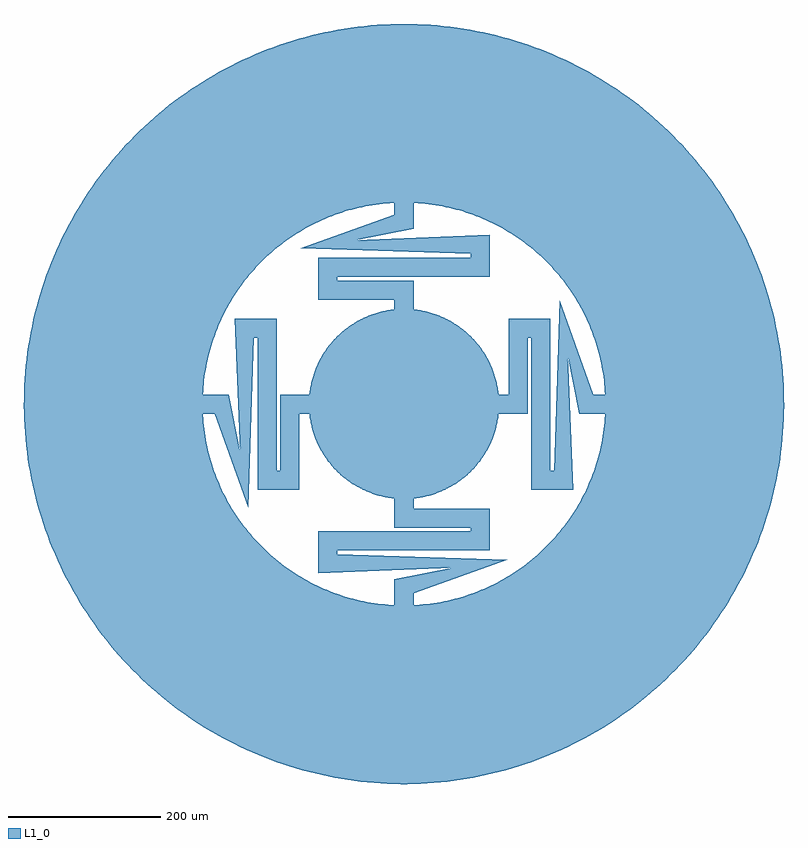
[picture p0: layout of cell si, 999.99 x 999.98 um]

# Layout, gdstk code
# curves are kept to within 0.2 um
import gdstk
lib = gdstk.Library(unit=1e-6, precision=1e-09)
def P(c, l, *ps):  # polygons
    for p in ps: c.add(gdstk.Polygon(p, *l))
L1_0 = (1, 0)

c_si = lib.new_cell('si')
P(c_si, L1_0, [(-1.094,-124.995),(-14.19,-124.192),(-24.989,-122.477),(-37.69,-119.183),(-47.962,-115.433),(-57.867,-110.799),(-69.162,-104.123),(-79.695,-96.3),(-89.35,-87.416),(-98.021,-77.569),(-104.425,-68.706),(-111.051,-57.381),(-116.454,-45.425),(-119.979,-35.073),(-122.994,-22.304),(-124.473,-11.469),(-124.989,1.641),(-124.368,12.558),(-122.366,25.525),(-119.017,38.211),(-115.222,48.466),(-109.507,60.277),(-103.82,69.617),(-95.951,80.115),(-87.024,89.732),(-77.14,98.359),(-68.248,104.724),(-56.895,111.301),(-46.95,115.848),(-36.645,119.508),(-23.917,122.691),(-10.925,124.522),(2.188,124.981),(15.276,124.063),(26.06,122.253),(36.645,119.508),(48.97,115.008),(60.755,109.242),(70.07,103.514),(80.535,95.599),(88.582,88.195),(97.338,78.424),(103.82,69.617),(109.507,60.277),(115.222,48.466),(119.667,36.122),(122.794,23.38),(124.368,12.558),(124.999,-0.547),(124.473,-11.469),(122.585,-24.453),(119.346,-37.168),(114.793,-49.473),(108.975,-61.233),(103.206,-70.523),(96.648,-79.273),(87.806,-88.967),(79.695,-96.3),(69.162,-104.123),(57.867,-110.799),(47.962,-115.433),(37.69,-119.183),(24.989,-122.477),(12.014,-124.421)],
  [(-4.375,-499.981),(-30.609,-499.062),(-56.759,-496.768),(-82.752,-493.105),(-99.958,-489.907),(-125.531,-483.985),(-150.759,-476.73),(-175.57,-468.161),(-199.898,-458.302),(-215.815,-451.025),(-239.188,-439.078),(-261.902,-425.92),(-283.894,-411.588),(-305.103,-396.121),(-325.472,-379.563),(-344.944,-361.959),(-357.4,-349.665),(-375.258,-330.426),(-392.082,-310.277),(-407.826,-289.272),(-417.699,-274.822),(-431.547,-252.522),(-440.12,-237.265),(-451.965,-213.839),(-462.565,-189.825),(-471.89,-165.287),(-479.914,-140.294),(-486.616,-114.914),(-491.976,-89.217),(-494.797,-71.945),(-497.891,-45.878),(-499.612,-19.685),(-499.957,6.563),(-499.421,24.056),(-498.273,41.519),(-496.515,58.932),(-494.148,76.272),(-491.176,93.519),(-487.603,110.651),(-483.432,127.648),(-478.668,144.488),(-473.318,161.151),(-467.389,177.617),(-460.886,193.865),(-453.819,209.876),(-446.196,225.63),(-438.027,241.107),(-423.986,265),(0,265),(-13.908,264.635),(-32.385,263.014),(-46.144,260.952),(-64.284,257.085),(-77.688,253.357),(-95.22,247.302),(-108.068,241.964),(-124.728,233.812),(-140.778,224.514),(-152.367,216.816),(-163.536,208.521),(-177.721,196.571),(-187.793,186.973),(-200.412,173.379),(-209.235,162.622),(-220.098,147.587),(-227.54,135.833),(-236.484,119.584),(-244.27,102.749),(-249.326,89.787),(-253.694,76.579),(-258.429,58.645),(-261.899,40.424),(-263.659,26.624),(-264.876,8.115),(-264.937,-5.797),(-263.882,-24.315),(-262.242,-38.131),(-259.88,-51.841),(-255.617,-69.893),(-251.597,-83.212),(-245.16,-100.607),(-237.522,-117.51),(-231.027,-129.813),(-221.381,-145.656),(-213.431,-157.073),(-204.894,-168.058),(-192.636,-181.979),(-179.435,-195.008),(-168.953,-204.156),(-158.006,-212.742),(-142.737,-223.273),(-130.823,-230.457),(-114.382,-239.043),(-101.679,-244.717),(-84.312,-251.23),(-71.011,-255.309),(-52.978,-259.65),(-39.278,-262.073),(-20.849,-264.179),(-6.956,-264.909),(11.591,-264.746),(30.082,-263.287),(43.858,-261.345),(57.514,-258.684),(75.468,-254.027),(93.052,-248.126),(105.946,-242.9),(122.678,-234.894),(134.836,-228.132),(150.464,-218.141),(161.705,-209.944),(175.994,-198.119),(186.149,-188.609),(195.791,-178.58),(204.894,-168.058),(213.431,-157.073),(221.381,-145.656),(228.72,-133.837),(235.429,-121.649),(241.488,-109.125),(246.883,-96.301),(251.597,-83.212),(255.617,-69.893),(258.933,-56.381),(261.535,-42.714),(263.416,-28.93),(264.795,-10.433),(264.977,3.478),(264.429,17.38),(263.153,31.234),(261.151,45.001),(258.429,58.645),(253.694,76.579),(249.326,89.787),(244.27,102.749),(238.541,115.427),(232.154,127.787),(225.128,139.794),(217.481,151.417),(209.235,162.622),(200.412,173.379),(191.036,183.658),(181.134,193.43),(170.733,202.67),(159.861,211.351),(144.686,222.016),(128.801,231.593),(112.286,240.035),(95.22,247.302),(77.688,253.357),(59.775,258.17),(41.57,261.719),(23.16,263.986),(9.274,264.838),(0,265),(-423.986,265),(-415.278,278.467),(-405.279,292.83),(-394.782,306.834),(-383.802,320.462),(-372.352,333.697),(-360.446,346.524),(-341.763,364.963),(-328.781,376.7),(-315.396,387.976),(-294.6,403.994),(-272.992,418.898),(-258.165,428.195),(-243.021,436.968),(-227.58,445.205),(-211.86,452.897),(-187.799,463.391),(-163.221,472.609),(-146.581,478.031),(-129.762,482.868),(-112.783,487.114),(-95.667,490.763),(-69.779,495.107),(-52.409,497.246),(-34.975,498.775),(-17.498,499.694),(0,500),(17.498,499.694),(43.699,498.087),(69.779,495.107),(95.667,490.763),(121.291,485.065),(146.581,478.031),(171.467,469.68),(195.88,460.034),(211.86,452.897),(235.337,441.154),(258.165,428.195),(280.281,414.056),(294.6,403.994),(315.396,387.976),(335.323,370.888),(354.326,352.779),(372.352,333.697),(389.352,313.696),(405.279,292.83),(415.278,278.467),(429.321,256.289),(442.179,233.404),(453.819,209.876),(464.209,185.77),(473.318,161.151),(481.124,136.089),(487.603,110.651),(491.176,93.519),(495.408,67.612),(498.273,41.519),(499.421,24.056),(499.995,-2.188),(499.191,-28.425),(497.012,-54.584),(494.797,-71.945),(490.339,-97.813),(486.616,-114.914),(479.914,-140.294),(471.89,-165.287),(462.565,-189.825),(451.965,-213.839),(440.12,-237.265),(427.061,-260.036),(412.826,-282.09),(402.701,-296.365),(386.592,-317.091),(369.418,-336.943),(351.225,-355.866),(332.065,-373.809),(311.989,-390.721),(291.054,-406.556),(269.316,-421.271),(254.408,-430.438),(231.467,-443.196),(207.888,-454.733),(183.737,-465.017),(159.079,-474.019),(142.392,-479.296),(117.042,-486.108),(91.369,-491.581),(65.444,-495.699),(39.339,-498.45),(13.125,-499.828)])
c_si.add(gdstk.FlexPath([(0,0),(0,150),(-100,150),(-100,180),(100,180),(100,210),(-100,210),(-100,210),(0,240),(0,265)], 25, ends="flush", simple_path=True, layer=1, datatype=0))  # L1_0
c_si.add(gdstk.FlexPath([(0,0),(-150,0),(-150,-100),(-180,-100),(-180,100),(-210,100),(-210,-100),(-210,-100),(-240,0),(-265,0)], 25, ends="flush", simple_path=True, layer=1, datatype=0))  # L1_0
c_si.add(gdstk.FlexPath([(0,0),(0,-150),(100,-150),(100,-180),(-100,-180),(-100,-210),(100,-210),(100,-210),(0,-240),(0,-265)], 25, ends="flush", simple_path=True, layer=1, datatype=0))  # L1_0
c_si.add(gdstk.FlexPath([(0,0),(150,0),(150,100),(180,100),(180,-100),(210,-100),(210,100),(210,100),(240,0),(265,0)], 25, ends="flush", simple_path=True, layer=1, datatype=0))  # L1_0

lib.write_gds('si.gds')
